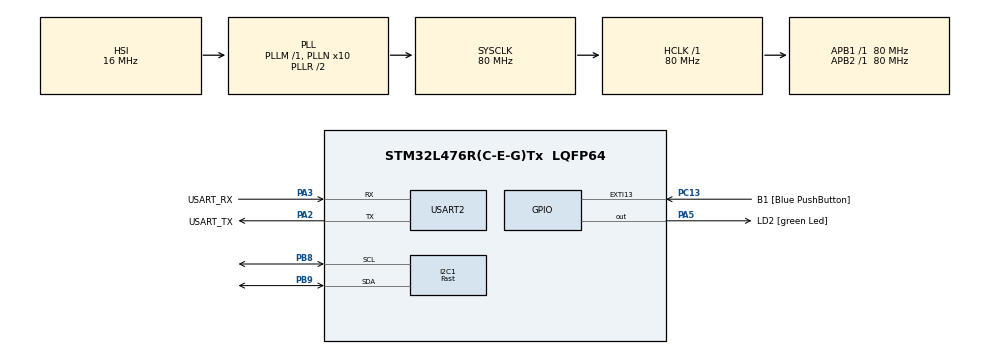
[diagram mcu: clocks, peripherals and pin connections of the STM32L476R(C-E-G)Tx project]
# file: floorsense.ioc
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I2C1.I2C_Speed_Mode=I2C_Fast
I2C1.Timing=0x00F12981
Mcu.Family=STM32L4
Mcu.Name=STM32L476R(C-E-G)Tx
Mcu.Package=LQFP64
NVIC.PriorityGroup=NVIC_PRIORITYGROUP_4
NVIC.USART2_IRQn=true\:0\:0\:false\:false\:true\:true\:true\:true
PA13\ (JTMS-SWDIO).GPIO_Label=TMS
PA13\ (JTMS-SWDIO).Mode=Serial_Wire
PA13\ (JTMS-SWDIO).Signal=SYS_JTMS-SWDIO
PA14\ (JTCK-SWCLK).GPIO_Label=TCK
PA14\ (JTCK-SWCLK).Mode=Serial_Wire
PA14\ (JTCK-SWCLK).Signal=SYS_JTCK-SWCLK
PA2.GPIO_Label=USART_TX
PA2.GPIO_Mode=GPIO_MODE_AF_PP
PA2.GPIO_PuPd=GPIO_NOPULL
PA2.GPIO_Speed=GPIO_SPEED_FREQ_VERY_HIGH
PA2.Mode=Asynchronous
PA2.Signal=USART2_TX
PA3.GPIO_Label=USART_RX
PA3.GPIO_Mode=GPIO_MODE_AF_PP
PA3.GPIO_PuPd=GPIO_NOPULL
PA3.GPIO_Speed=GPIO_SPEED_FREQ_VERY_HIGH
PA3.Mode=Asynchronous
PA3.Signal=USART2_RX
PA5.GPIO_Label=LD2 [green Led]
PA5.GPIO_ModeDefaultOutputPP=GPIO_MODE_OUTPUT_PP
PA5.GPIO_PuPd=GPIO_NOPULL
PA5.GPIO_Speed=GPIO_SPEED_FREQ_LOW
PA5.Signal=GPIO_Output
PB3\ (JTDO-TRACESWO).GPIO_Label=SWO
PB3\ (JTDO-TRACESWO).Signal=SYS_JTDO-SWO
PB8.Mode=I2C
PB8.Signal=I2C1_SCL
PB9.Mode=I2C
PB9.Signal=I2C1_SDA
PC13.GPIO_Label=B1 [Blue PushButton]
PC13.GPIO_ModeDefaultEXTI=GPIO_MODE_IT_FALLING
PC13.GPIO_PuPd=GPIO_NOPULL
PC13.Signal=GPXTI13
PC14-OSC32_IN\ (PC14).Mode=LSE-External-Oscillator
PC14-OSC32_IN\ (PC14).Signal=RCC_OSC32_IN
PC15-OSC32_OUT\ (PC15).Mode=LSE-External-Oscillator
PC15-OSC32_OUT\ (PC15).Signal=RCC_OSC32_OUT
PH0-OSC_IN\ (PH0).Signal=RCC_OSC_IN
PH1-OSC_OUT\ (PH1).Signal=RCC_OSC_OUT
ProjectManager.HeapSize=0x200
ProjectManager.StackSize=0x400
ProjectManager.TargetToolchain=STM32CubeIDE
RCC.ADCFreq_Value=64000000
RCC.AHBFreq_Value=80000000
RCC.APB1Freq_Value=80000000
RCC.APB1TimFreq_Value=80000000
RCC.APB2Freq_Value=80000000
RCC.APB2TimFreq_Value=80000000
RCC.CortexFreq_Value=80000000
RCC.HCLKFreq_Value=80000000
RCC.HSE_VALUE=8000000
RCC.HSI_VALUE=16000000
RCC.MSI_VALUE=4000000
RCC.PLLN=10
RCC.PLLSourceVirtual=RCC_PLLSOURCE_HSI
RCC.PREFETCH_ENABLE=1
RCC.SYSCLKFreq_VALUE=80000000
RCC.SYSCLKSource=RCC_SYSCLKSOURCE_PLLCLK
RCC.USBFreq_Value=64000000
RCC.VCOOutputFreq_Value=160000000
USART2.VirtualMode-Asynchronous=VM_ASYNC
board=NUCLEO-L476RG

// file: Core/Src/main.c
/* USER CODE BEGIN Header */
/**
  ******************************************************************************
  * @file           : main.c
  * @brief          : Floor Sense firmware, step 3: MPU9250/6500 bring-up
  ******************************************************************************
  * - Finds the motion sensor on I2C1 (PB8 = SCL, PB9 = SDA), reads its ID,
  *   sets +-4 g and +-500 dps, and checks for the MPU9250's magnetometer.
  * - Reads the sensor 100 times a second and sends each sample to the Pi
  *   as an IMU frame. (1 kHz sampling comes later, with DMA sending.)
  * - Heartbeat every second, with imu_ok set while the sensor answers.
  * - Motor commands from the Pi as before; the LED still stands in for motors.
  *
  * LED:  slow blink = sensor OK   fast blink = no sensor   solid = driving
  *
  * Watch these in the debugger (Live Expressions): imu_addr, imu_id, mag_id,
  * i2c_found, i2c_found_n, acc_g, gyr_dps, imu_reads, imu_errors.
  ******************************************************************************
  */
/* USER CODE END Header */
#include "main.h"

/* USER CODE BEGIN Includes */
#include <string.h>
#include "floorsense_protocol.h"
/* USER CODE END Includes */

/* USER CODE BEGIN PD */
#define HEARTBEAT_PERIOD_MS  1000u
#define IMU_PERIOD_MS        10u      /* 100 Hz for bring-up */
#define IMU_RETRY_MS         1000u
#define BLINK_OK_MS          500u
#define BLINK_FAULT_MS       100u
#define I2C_TIMEOUT_MS       10u

/* MPU9250 / MPU6500 registers */
#define MPU_REG_SMPLRT_DIV   0x19u
#define MPU_REG_CONFIG       0x1Au
#define MPU_REG_GYRO_CFG     0x1Bu
#define MPU_REG_ACCEL_CFG    0x1Cu
#define MPU_REG_ACCEL_CFG2   0x1Du
#define MPU_REG_INT_PIN_CFG  0x37u
#define MPU_REG_ACCEL_XOUT_H 0x3Bu
#define MPU_REG_PWR_MGMT_1   0x6Bu
#define MPU_REG_PWR_MGMT_2   0x6Cu
#define MPU_REG_WHO_AM_I     0x75u
#define AK8963_ADDR          0x0Cu    /* magnetometer inside a real MPU9250 */
#define AK8963_REG_WIA       0x00u    /* reads 0x48 */
/* USER CODE END PD */

I2C_HandleTypeDef hi2c1;

UART_HandleTypeDef huart2;

/* USER CODE BEGIN PV */
static uint8_t tx_buf[FS_MAX_FRAME];
static uint8_t tx_seq;

/* Written by the UART interrupt, read by the main loop */
static fs_parser_t rx_parser;
static uint8_t rx_byte;
static volatile int16_t cmd_left, cmd_right;
static volatile uint32_t cmd_time_ms;
static volatile uint8_t cmd_seen;

/* Sensor state. Global and volatile so the debugger can show them live. */
volatile uint8_t imu_ok;          /* 1 while the sensor answers */
volatile uint8_t imu_addr;        /* 0x68 or 0x69, 0 = not found */
volatile uint8_t imu_id;          /* 0x71 MPU9250, 0x73 MPU9255, 0x70 MPU6500 */
volatile uint8_t mag_id;          /* 0x48 if the MPU9250 magnetometer answers */
volatile uint8_t i2c_found[8];    /* addresses that answered on the bus */
volatile uint8_t i2c_found_n;
volatile float acc_g[3];          /* latest sample, in g */
volatile float gyr_dps[3];        /* latest sample, in degrees per second */
volatile uint32_t imu_reads, imu_errors;
/* USER CODE END PV */

void SystemClock_Config(void);
static void MX_GPIO_Init(void);
static void MX_USART2_UART_Init(void);
static void MX_I2C1_Init(void);
/* USER CODE BEGIN PFP */
static void send_frame(uint8_t type, const void *payload, size_t len);
static int commands_fresh(uint32_t now_ms, int16_t *left, int16_t *right);
static int imu_init(void);
static int imu_read(int16_t s[6]);
/* USER CODE END PFP */

/* USER CODE BEGIN 0 */

/* Build one frame and send it to the Pi (blocking; fine at 100 Hz). */
static void send_frame(uint8_t type, const void *payload, size_t len)
{
  size_t n = fs_build(tx_buf, sizeof tx_buf, type, tx_seq++, payload, len);
  if (n > 0u)
  {
    HAL_UART_Transmit(&huart2, tx_buf, (uint16_t)n, 20u);
  }
}

/* ---- motion sensor ---- */

static HAL_StatusTypeDef mpu_write(uint8_t reg, uint8_t val)
{
  return HAL_I2C_Mem_Write(&hi2c1, (uint16_t)(imu_addr << 1), reg, I2C_MEMADD_SIZE_8BIT,
                           &val, 1u, I2C_TIMEOUT_MS);
}

static HAL_StatusTypeDef mpu_read(uint8_t reg, uint8_t *buf, uint16_t n)
{
  return HAL_I2C_Mem_Read(&hi2c1, (uint16_t)(imu_addr << 1), reg, I2C_MEMADD_SIZE_8BIT,
                          buf, n, I2C_TIMEOUT_MS);
}

/* List every address that answers, for the debugger. */
static void i2c_scan(void)
{
  uint8_t n = 0u;
  for (uint8_t a = 0x08u; a < 0x78u; a++)
  {
    if (HAL_I2C_IsDeviceReady(&hi2c1, (uint16_t)(a << 1), 1u, 2u) == HAL_OK
        && n < sizeof i2c_found)
    {
      i2c_found[n++] = a;
    }
  }
  i2c_found_n = n;
}

/* Find, reset and configure the sensor. Returns 1 on success. */
static int imu_init(void)
{
  uint8_t v = 0u;

  imu_ok = 0u;
  imu_addr = 0u;
  HAL_I2C_DeInit(&hi2c1);             /* clears a bus left stuck by a failed transfer */
  MX_I2C1_Init();
  i2c_scan();

  if (HAL_I2C_IsDeviceReady(&hi2c1, 0x68u << 1, 3u, I2C_TIMEOUT_MS) == HAL_OK)
  {
    imu_addr = 0x68u;
  }
  else if (HAL_I2C_IsDeviceReady(&hi2c1, 0x69u << 1, 3u, I2C_TIMEOUT_MS) == HAL_OK)
  {
    imu_addr = 0x69u;
  }
  else
  {
    return 0;
  }

  if (mpu_read(MPU_REG_WHO_AM_I, &v, 1u) != HAL_OK) return 0;
  imu_id = v;

  if (mpu_write(MPU_REG_PWR_MGMT_1, 0x80u) != HAL_OK) return 0;   /* reset */
  HAL_Delay(100u);
  if (mpu_write(MPU_REG_PWR_MGMT_1, 0x01u) != HAL_OK) return 0;   /* clock from gyro PLL */
  HAL_Delay(10u);
  if (mpu_write(MPU_REG_PWR_MGMT_2, 0x00u) != HAL_OK) return 0;   /* all axes on */
  if (mpu_write(MPU_REG_SMPLRT_DIV, 0x00u) != HAL_OK) return 0;   /* 1 kHz internal rate */
  if (mpu_write(MPU_REG_CONFIG, 0x01u) != HAL_OK) return 0;       /* gyro filter 184 Hz */
  if (mpu_write(MPU_REG_GYRO_CFG, 0x08u) != HAL_OK) return 0;     /* +-500 dps */
  if (mpu_write(MPU_REG_ACCEL_CFG, 0x08u) != HAL_OK) return 0;    /* +-4 g */
  if (mpu_write(MPU_REG_ACCEL_CFG2, 0x01u) != HAL_OK) return 0;   /* accel filter 218 Hz */
  if (mpu_write(MPU_REG_INT_PIN_CFG, 0x02u) != HAL_OK) return 0;  /* bypass: expose magnetometer */

  /* Read the ranges back: a fake or damaged chip often fails here */
  if (mpu_read(MPU_REG_GYRO_CFG, &v, 1u) != HAL_OK || (v & 0x18u) != 0x08u) return 0;
  if (mpu_read(MPU_REG_ACCEL_CFG, &v, 1u) != HAL_OK || (v & 0x18u) != 0x08u) return 0;

  HAL_Delay(10u);
  v = 0u;
  if (HAL_I2C_Mem_Read(&hi2c1, AK8963_ADDR << 1, AK8963_REG_WIA, I2C_MEMADD_SIZE_8BIT,
                       &v, 1u, I2C_TIMEOUT_MS) == HAL_OK)
  {
    mag_id = v;
  }
  else
  {
    mag_id = 0u;
  }
  i2c_scan();                         /* again, now that the magnetometer may be visible */

  imu_ok = 1u;
  return 1;
}

/* Read one sample: accel x,y,z then gyro x,y,z, raw. Returns 1 on success. */
static int imu_read(int16_t s[6])
{
  uint8_t b[14];
  if (mpu_read(MPU_REG_ACCEL_XOUT_H, b, sizeof b) != HAL_OK)
  {
    imu_errors++;
    return 0;
  }
  for (int i = 0; i < 3; i++)
  {
    s[i] = (int16_t)(((uint16_t)b[2 * i] << 8) | b[2 * i + 1]);           /* accel */
    s[3 + i] = (int16_t)(((uint16_t)b[8 + 2 * i] << 8) | b[9 + 2 * i]);   /* gyro, after temp */
    acc_g[i] = (float)s[i] / (float)FS_ACCEL_LSB_PER_G;
    gyr_dps[i] = (float)s[3 + i] / FS_GYRO_LSB_PER_DPS;
  }
  imu_reads++;
  return 1;
}

/* ---- motor commands from the Pi ---- */

/* Copy the latest command; returns 1 if it arrived less than FS_CMD_TIMEOUT_MS ago. */
static int commands_fresh(uint32_t now_ms, int16_t *left, int16_t *right)
{
  __disable_irq();                  /* read left, right and time as one consistent set */
  int16_t l = cmd_left, r = cmd_right;
  uint32_t t = cmd_time_ms;
  uint8_t seen = cmd_seen;
  __enable_irq();

  if (!seen || (now_ms - t) >= FS_CMD_TIMEOUT_MS)
  {
    *left = 0;
    *right = 0;
    return 0;
  }
  *left = l;
  *right = r;
  return 1;
}

/* One byte arrived from the Pi: feed the parser, keep MOTOR commands, re-arm. */
void HAL_UART_RxCpltCallback(UART_HandleTypeDef *huart)
{
  if (huart->Instance != USART2)
  {
    return;
  }
  if (fs_parse_byte(&rx_parser, rx_byte) && rx_parser.type == FS_MSG_MOTOR
      && rx_parser.len >= sizeof(fs_motor_t))
  {
    fs_motor_t m;
    memcpy(&m, rx_parser.payload, sizeof m);
    if (m.left > FS_MOTOR_MAX) m.left = FS_MOTOR_MAX;
    if (m.left < -FS_MOTOR_MAX) m.left = -FS_MOTOR_MAX;
    if (m.right > FS_MOTOR_MAX) m.right = FS_MOTOR_MAX;
    if (m.right < -FS_MOTOR_MAX) m.right = -FS_MOTOR_MAX;
    cmd_left = m.left;
    cmd_right = m.right;
    cmd_time_ms = HAL_GetTick();
    cmd_seen = 1u;
  }
  HAL_UART_Receive_IT(&huart2, &rx_byte, 1);
}

/* A UART error (noise, overrun) can stop reception; start it again. */
void HAL_UART_ErrorCallback(UART_HandleTypeDef *huart)
{
  if (huart->Instance == USART2)
  {
    HAL_UART_Receive_IT(&huart2, &rx_byte, 1);
  }
}

/* USER CODE END 0 */

int main(void)
{

  /* USER CODE BEGIN 1 */
  uint32_t last_hb = 0u, last_blink = 0u, last_imu = 0u, last_try = 0u;
  uint8_t fail_streak = 0u;
  /* USER CODE END 1 */

  /* MCU Configuration--------------------------------------------------------*/

  /* Reset of all peripherals, Initializes the Flash interface and the Systick. */
  HAL_Init();

  /* Configure the system clock */
  SystemClock_Config();

  /* Initialize all configured peripherals */
  MX_GPIO_Init();
  MX_USART2_UART_Init();
  MX_I2C1_Init();
  /* USER CODE BEGIN 2 */
  HAL_UART_Receive_IT(&huart2, &rx_byte, 1);   /* start listening for the Pi */
  imu_init();
  last_try = HAL_GetTick();
  /* USER CODE END 2 */

  /* Infinite loop */
  while (1)
  {

    /* USER CODE BEGIN 3 */
    uint32_t now = HAL_GetTick();
    int16_t left, right;
    int fresh = commands_fresh(now, &left, &right);

    /* Sensor: sample at 100 Hz, or retry finding it once a second */
    if (imu_ok && now - last_imu >= IMU_PERIOD_MS)
    {
      int16_t s[6];
      last_imu = now;
      if (imu_read(s))
      {
        fs_imu_t m = { now * 1000u, s[0], s[1], s[2], s[3], s[4], s[5] };
        fail_streak = 0u;
        send_frame(FS_MSG_IMU, &m, sizeof m);
      }
      else if (++fail_streak >= 10u)
      {
        imu_ok = 0u;                /* ten misses in a row: treat it as gone */
      }
    }
    else if (!imu_ok && now - last_try >= IMU_RETRY_MS)
    {
      last_try = now;
      fail_streak = 0u;
      imu_init();
    }

    /* LED stands in for the motors; its blink speed shows the sensor state */
    if (left != 0 || right != 0)
    {
      HAL_GPIO_WritePin(LD2_GPIO_Port, LD2_Pin, GPIO_PIN_SET);
    }
    else if (now - last_blink >= (imu_ok ? BLINK_OK_MS : BLINK_FAULT_MS))
    {
      last_blink = now;
      HAL_GPIO_TogglePin(LD2_GPIO_Port, LD2_Pin);
    }

    if (now - last_hb >= HEARTBEAT_PERIOD_MS)
    {
      fs_heartbeat_t hb;
      last_hb = now;
      hb.t_us = now * 1000u;
      hb.flags = (uint16_t)((fresh ? FS_FLAG_MOTORS_ARMED : FS_FLAG_CMD_TIMEOUT)
                            | (imu_ok ? FS_FLAG_IMU_OK : 0u));
      send_frame(FS_MSG_HEARTBEAT, &hb, sizeof hb);
    }
  }
  /* USER CODE END 3 */
}

void SystemClock_Config(void)
{
  RCC_OscInitTypeDef RCC_OscInitStruct = {0};
  RCC_ClkInitTypeDef RCC_ClkInitStruct = {0};

  /** Configure the main internal regulator output voltage
  */
  if (HAL_PWREx_ControlVoltageScaling(PWR_REGULATOR_VOLTAGE_SCALE1) != HAL_OK)
  {
    Error_Handler();
  }

  /** Initializes the RCC Oscillators according to the specified parameters
  * in the RCC_OscInitTypeDef structure.
  */
  RCC_OscInitStruct.OscillatorType = RCC_OSCILLATORTYPE_HSI;
  RCC_OscInitStruct.HSIState = RCC_HSI_ON;
  RCC_OscInitStruct.HSICalibrationValue = RCC_HSICALIBRATION_DEFAULT;
  RCC_OscInitStruct.PLL.PLLState = RCC_PLL_ON;
  RCC_OscInitStruct.PLL.PLLSource = RCC_PLLSOURCE_HSI;
  RCC_OscInitStruct.PLL.PLLM = 1;
  RCC_OscInitStruct.PLL.PLLN = 10;
  RCC_OscInitStruct.PLL.PLLP = RCC_PLLP_DIV7;
  RCC_OscInitStruct.PLL.PLLQ = RCC_PLLQ_DIV2;
  RCC_OscInitStruct.PLL.PLLR = RCC_PLLR_DIV2;
  if (HAL_RCC_OscConfig(&RCC_OscInitStruct) != HAL_OK)
  {
    Error_Handler();
  }

  /** Initializes the CPU, AHB and APB buses clocks
  */
  RCC_ClkInitStruct.ClockType = RCC_CLOCKTYPE_HCLK|RCC_CLOCKTYPE_SYSCLK
                              |RCC_CLOCKTYPE_PCLK1|RCC_CLOCKTYPE_PCLK2;
  RCC_ClkInitStruct.SYSCLKSource = RCC_SYSCLKSOURCE_PLLCLK;
  RCC_ClkInitStruct.AHBCLKDivider = RCC_SYSCLK_DIV1;
  RCC_ClkInitStruct.APB1CLKDivider = RCC_HCLK_DIV1;
  RCC_ClkInitStruct.APB2CLKDivider = RCC_HCLK_DIV1;

  if (HAL_RCC_ClockConfig(&RCC_ClkInitStruct, FLASH_LATENCY_4) != HAL_OK)
  {
    Error_Handler();
  }
}

static void MX_I2C1_Init(void)
{

  hi2c1.Instance = I2C1;
  hi2c1.Init.Timing = 0x00F12981;
  hi2c1.Init.OwnAddress1 = 0;
  hi2c1.Init.AddressingMode = I2C_ADDRESSINGMODE_7BIT;
  hi2c1.Init.DualAddressMode = I2C_DUALADDRESS_DISABLE;
  hi2c1.Init.OwnAddress2 = 0;
  hi2c1.Init.OwnAddress2Masks = I2C_OA2_NOMASK;
  hi2c1.Init.GeneralCallMode = I2C_GENERALCALL_DISABLE;
  hi2c1.Init.NoStretchMode = I2C_NOSTRETCH_DISABLE;
  if (HAL_I2C_Init(&hi2c1) != HAL_OK)
  {
    Error_Handler();
  }

  /** Configure Analogue filter
  */
  if (HAL_I2CEx_ConfigAnalogFilter(&hi2c1, I2C_ANALOGFILTER_ENABLE) != HAL_OK)
  {
    Error_Handler();
  }

  /** Configure Digital filter
  */
  if (HAL_I2CEx_ConfigDigitalFilter(&hi2c1, 0) != HAL_OK)
  {
    Error_Handler();
  }

}

static void MX_USART2_UART_Init(void)
{

  huart2.Instance = USART2;
  huart2.Init.BaudRate = 115200;
  huart2.Init.WordLength = UART_WORDLENGTH_8B;
  huart2.Init.StopBits = UART_STOPBITS_1;
  huart2.Init.Parity = UART_PARITY_NONE;
  huart2.Init.Mode = UART_MODE_TX_RX;
  huart2.Init.HwFlowCtl = UART_HWCONTROL_NONE;
  huart2.Init.OverSampling = UART_OVERSAMPLING_16;
  huart2.Init.OneBitSampling = UART_ONE_BIT_SAMPLE_DISABLE;
  huart2.AdvancedInit.AdvFeatureInit = UART_ADVFEATURE_NO_INIT;
  if (HAL_UART_Init(&huart2) != HAL_OK)
  {
    Error_Handler();
  }

}

static void MX_GPIO_Init(void)
{
  GPIO_InitTypeDef GPIO_InitStruct = {0};

  /* GPIO Ports Clock Enable */
  __HAL_RCC_GPIOC_CLK_ENABLE();
  __HAL_RCC_GPIOH_CLK_ENABLE();
  __HAL_RCC_GPIOA_CLK_ENABLE();
  __HAL_RCC_GPIOB_CLK_ENABLE();

  /*Configure GPIO pin Output Level */
  HAL_GPIO_WritePin(LD2_GPIO_Port, LD2_Pin, GPIO_PIN_RESET);

  /*Configure GPIO pin : B1_Pin */
  GPIO_InitStruct.Pin = B1_Pin;
  GPIO_InitStruct.Mode = GPIO_MODE_IT_FALLING;
  GPIO_InitStruct.Pull = GPIO_NOPULL;
  HAL_GPIO_Init(B1_GPIO_Port, &GPIO_InitStruct);

  /*Configure GPIO pin : LD2_Pin */
  GPIO_InitStruct.Pin = LD2_Pin;
  GPIO_InitStruct.Mode = GPIO_MODE_OUTPUT_PP;
  GPIO_InitStruct.Pull = GPIO_NOPULL;
  GPIO_InitStruct.Speed = GPIO_SPEED_FREQ_LOW;
  HAL_GPIO_Init(LD2_GPIO_Port, &GPIO_InitStruct);

}

void Error_Handler(void)
{
  __disable_irq();
  while (1)
  {
  }
}
